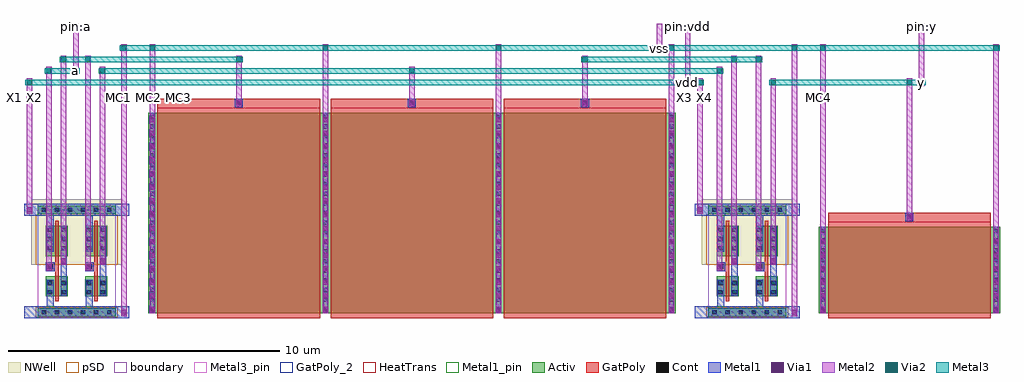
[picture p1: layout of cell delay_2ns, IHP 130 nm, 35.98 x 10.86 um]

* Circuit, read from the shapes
.subckt delay_2ns a vdd vss y
XM1 sg13cmos5l_inv_1_1/A a vss vss sg13_lv_nmos w=0.74u l=0.13u
XM2 sg13cmos5l_inv_1_3/A sg13cmos5l_inv_1_1/A vss vss sg13_lv_nmos w=0.74u l=0.13u
XM3 vss sg13cmos5l_inv_1_1/A vss vss sg13_lv_nmos w=7.4u l=6u
XM4 vss sg13cmos5l_inv_1_3/A vss vss sg13_lv_nmos w=7.4u l=6u
XM5 vss sg13cmos5l_inv_1_4/A vss vss sg13_lv_nmos w=7.4u l=6u
XM6 sg13cmos5l_inv_1_4/A sg13cmos5l_inv_1_3/A vss vss sg13_lv_nmos w=0.74u l=0.13u
XM7 y sg13cmos5l_inv_1_4/A vss vss sg13_lv_nmos w=0.74u l=0.13u
XM8 vss y vss vss sg13_lv_nmos w=3.2u l=6u
XM9 sg13cmos5l_inv_1_1/A a vdd vdd sg13_lv_pmos w=1.12u l=0.13u
XM10 sg13cmos5l_inv_1_3/A sg13cmos5l_inv_1_1/A vdd vdd sg13_lv_pmos w=1.12u l=0.13u
XM11 sg13cmos5l_inv_1_4/A sg13cmos5l_inv_1_3/A vdd vdd sg13_lv_pmos w=1.12u l=0.13u
XM12 y sg13cmos5l_inv_1_4/A vdd vdd sg13_lv_pmos w=1.12u l=0.13u
.ends

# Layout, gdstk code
import gdstk
lib = gdstk.Library(unit=1e-6, precision=1e-09)
def R(c, l, rs):  # rectangles x0, y0, x1, y1
    for r in rs: c.add(gdstk.rectangle(r[:2], r[2:], *l))
def A(c, l, x, y, w, h, nx, ny, dx, dy):  # array of equal rectangles
    R(c, l, [(x+i*dx, y+j*dy, x+i*dx+w, y+j*dy+h) for i in range(nx) for j in range(ny)])
def P(c, l, *ps):  # polygons
    for p in ps: c.add(gdstk.Polygon(p, *l))
Activ = (1, 0)
GatPoly = (5, 0)
GatPoly_2 = (5, 2)
Cont = (6, 0)
Metal1 = (8, 0)
Metal1_pin = (8, 2)
Metal2 = (10, 0)
pSD = (14, 0)
Via1 = (19, 0)
Via2 = (29, 0)
Metal3 = (30, 0)
Metal3_pin = (30, 2)
NWell = (31, 0)
HeatTrans = (51, 0)
boundary = (189, 4)

sg13cmos5l_inv_1 = lib.new_cell('sg13cmos5l_inv_1')
R(sg13cmos5l_inv_1, Activ, [(0,-0.15,1.44,0.15), (0.31,0.59,1.12,1.33), (0.31,2.075,1.12,3.195), (0,3.63,1.44,3.93)])
P(sg13cmos5l_inv_1, GatPoly, [(0.65,0.41),(0.65,1.52),(0.31,1.52),(0.31,1.85),(0.65,1.85),(0.65,3.375),(0.78,3.375),(0.78,0.41)])
A(sg13cmos5l_inv_1, Cont, 0.38, 2.285, 0.16, 0.16, 1, 3, 0, 0.34)
A(sg13cmos5l_inv_1, Cont, 0.89, 2.285, 0.16, 0.16, 1, 3, 0, 0.34)
R(sg13cmos5l_inv_1, Cont, [(0.16,-0.08,0.32,0.08), (0.16,-0.08,0.32,0.08), (0.64,-0.08,0.8,0.08), (0.64,-0.08,0.8,0.08), (1.12,-0.08,1.28,0.08), (1.12,-0.08,1.28,0.08), (0.38,0.66,0.54,0.82), (0.89,0.66,1.05,0.82), (0.38,1,0.54,1.16), (0.89,1,1.05,1.16), (0.395,1.605,0.555,1.765), (0.16,3.7,0.32,3.86), (0.16,3.7,0.32,3.86), (0.64,3.7,0.8,3.86), (0.64,3.7,0.8,3.86), (1.12,3.7,1.28,3.86), (1.12,3.7,1.28,3.86)])
R(sg13cmos5l_inv_1, Metal1, [(0.855,0.61,1.085,3.175), (0.31,1.52,0.625,1.85)])
P(sg13cmos5l_inv_1, Metal1, [(0,-0.22),(0,0.22),(0.33,0.22),(0.33,1.21),(0.59,1.21),(0.59,0.22),(1.44,0.22),(1.44,-0.22)],
  [(0.33,2.235),(0.33,3.56),(0,3.56),(0,4),(1.44,4),(1.44,3.56),(0.59,3.56),(0.59,2.235)])
R(sg13cmos5l_inv_1, Metal1_pin, [(0,-0.22,1.44,0.22), (0.855,0.61,1.085,3.175), (0.31,1.52,0.625,1.85), (0,3.56,1.44,4)])
R(sg13cmos5l_inv_1, pSD, [(-0.07,-0.18,1.51,0.18), (-0.07,1.76,1.51,3.6)])
R(sg13cmos5l_inv_1, NWell, [(-0.24,1.75,1.68,4.17)])
R(sg13cmos5l_inv_1, boundary, [(0,0,1.44,3.78)])
sg13cmos5l_inv_1.add(gdstk.Label('VDD', (0.705,3.78), layer=8, texttype=25))
sg13cmos5l_inv_1.add(gdstk.Label('VSS', (0.72,-0.02), layer=8, texttype=25))
sg13cmos5l_inv_1.add(gdstk.Label('A', (0.48,1.68), layer=8, texttype=25))
sg13cmos5l_inv_1.add(gdstk.Label('Y', (0.98,1.69), layer=8, texttype=25))

nmos_3 = lib.new_cell('nmos$3')
A(nmos_3, Activ, 0, 0, 0.3, 0.3, 4, 1, 6.38, 0)
R(nmos_3, Activ, [(0,0,19.44,7.4)])
A(nmos_3, GatPoly, 0.34, -0.18, 6, 7.76, 3, 1, 6.38, 0)
R(nmos_3, GatPoly_2, [(0.34,-0.18,6.34,7.58)])
A(nmos_3, Cont, 0.07, 0.07, 0.16, 0.16, 4, 21, 6.38, 0.355)
A(nmos_3, Metal1, 0.07, 0, 0.16, 7.4, 4, 1, 6.38, 0)
R(nmos_3, Metal1_pin, [(0.07,0,0.23,7.4), (6.45,0,6.61,7.4)])
A(nmos_3, HeatTrans, 0.34, -0.18, 6, 7.76, 3, 1, 6.38, 0)
nmos_3.add(gdstk.Label('nmos', (3.34,3.7), layer=63, texttype=0))
nmos_3.add(gdstk.Label('nmos', (3.34,3.7), layer=51, texttype=0))
nmos_3.add(gdstk.Label('nmos', (9.72,3.7), layer=51, texttype=0))
nmos_3.add(gdstk.Label('nmos', (16.1,3.7), layer=51, texttype=0))

nmos_1_1 = lib.new_cell('nmos$1$1')
R(nmos_1_1, Activ, [(0,0,0.3,0.3), (0,0,6.68,3.2), (6.38,0,6.68,0.3)])
R(nmos_1_1, GatPoly, [(0.34,-0.18,6.34,3.38)])
R(nmos_1_1, GatPoly_2, [(0.34,-0.18,6.34,3.38)])
R(nmos_1_1, Cont, [(0.07,0.07,0.23,0.23), (6.45,0.07,6.61,0.23), (0.07,0.43,0.23,0.59), (6.45,0.43,6.61,0.59), (0.07,0.795,0.23,0.955), (6.45,0.795,6.61,0.955), (0.07,1.155,0.23,1.315), (6.45,1.155,6.61,1.315), (0.07,1.52,0.23,1.68), (6.45,1.52,6.61,1.68), (0.07,1.88,0.23,2.04), (6.45,1.88,6.61,2.04), (0.07,2.245,0.23,2.405), (6.45,2.245,6.61,2.405), (0.07,2.605,0.23,2.765), (6.45,2.605,6.61,2.765), (0.07,2.97,0.23,3.13), (6.45,2.97,6.61,3.13)])
R(nmos_1_1, Metal1, [(0.07,0,0.23,3.2), (6.45,0,6.61,3.2)])
R(nmos_1_1, Metal1_pin, [(0.07,0,0.23,3.2), (6.45,0,6.61,3.2)])
R(nmos_1_1, HeatTrans, [(0.34,-0.18,6.34,3.38)])
nmos_1_1.add(gdstk.Label('nmos', (3.34,1.6), layer=63, texttype=0))
nmos_1_1.add(gdstk.Label('nmos', (3.34,1.6), layer=51, texttype=0))

delay_2ns = lib.new_cell('delay_2ns')
A(delay_2ns, GatPoly, 4.92, 7.76, 6, 0.33, 3, 1, 6.38, 0)
R(delay_2ns, GatPoly, [(29.64,3.56,35.64,3.89)])
A(delay_2ns, Cont, 7.84, 7.86, 0.16, 0.16, 3, 1, 6.38, 0)
R(delay_2ns, Cont, [(32.56,3.66,32.72,3.82)])
A(delay_2ns, Metal1, 4.625, 0.18, 0.21, 0.29, 4, 15, 6.38, 0.5)
A(delay_2ns, Metal1, 29.345, 0.18, 0.21, 0.29, 1, 6, 0, 0.5)
A(delay_2ns, Metal1, 35.725, 0.18, 0.21, 0.29, 1, 6, 0, 0.5)
A(delay_2ns, Metal1, 7.77, 7.78, 0.3, 0.32, 3, 1, 6.38, 0)
A(delay_2ns, Metal1, 7.815, 7.795, 0.21, 0.29, 3, 1, 6.38, 0)
R(delay_2ns, Metal1, [(0,0,0.5,0.44), (3.38,0,3.88,0.44), (24.72,0,25.22,0.44), (28.1,0,28.6,0.44), (3.575,0.075,3.785,0.365), (28.295,0.075,28.505,0.365), (0.81,1.76,1.02,2.05), (2.25,1.76,2.46,2.05), (25.53,1.76,25.74,2.05), (26.97,1.76,27.18,2.05), (1.355,1.965,1.565,2.255), (2.795,1.965,3.005,2.255), (26.075,1.965,26.285,2.255), (27.515,1.965,27.725,2.255), (32.49,3.58,32.79,3.9), (32.535,3.595,32.745,3.885), (0,3.78,0.5,4.22), (3.38,3.78,3.88,4.22), (24.72,3.78,25.22,4.22), (28.1,3.78,28.6,4.22), (0.095,3.855,0.305,4.145), (24.815,3.855,25.025,4.145)])
A(delay_2ns, Metal2, 4.63, 0.18, 0.2, 9.925, 4, 1, 6.38, 0)
R(delay_2ns, Metal2, [(3.58,0.075,3.78,10.105), (28.3,0.075,28.5,10.105), (29.35,0.18,29.55,10.105), (35.73,0.18,35.93,10.105), (0.815,1.76,1.015,9.265), (2.255,1.76,2.455,9.685), (25.535,1.76,25.735,9.265), (26.975,1.76,27.175,9.685), (1.36,1.965,1.56,9.685), (2.8,1.965,3,9.265), (26.08,1.965,26.28,9.685), (27.52,1.965,27.72,8.845), (32.54,3.595,32.74,8.845), (0.1,3.855,0.3,8.845), (24.82,3.855,25.02,8.845), (7.82,7.795,8.02,9.685), (14.2,7.795,14.4,9.265), (20.58,7.795,20.78,9.685), (24.37,8.555,24.57,10.86), (32.99,8.555,33.19,10.86), (1.815,8.975,2.015,10.86), (23.32,9.815,23.52,10.86)])
A(delay_2ns, Via1, 4.635, 0.23, 0.19, 0.19, 4, 15, 6.38, 0.5)
A(delay_2ns, Via1, 29.355, 0.23, 0.19, 0.19, 1, 6, 0, 0.5)
A(delay_2ns, Via1, 35.735, 0.23, 0.19, 0.19, 1, 6, 0, 0.5)
A(delay_2ns, Via1, 7.825, 7.845, 0.19, 0.19, 3, 1, 6.38, 0)
R(delay_2ns, Via1, [(3.585,0.125,3.775,0.315), (28.305,0.125,28.495,0.315), (0.82,1.81,1.01,2), (2.26,1.81,2.45,2), (25.54,1.81,25.73,2), (26.98,1.81,27.17,2), (1.365,2.015,1.555,2.205), (2.805,2.015,2.995,2.205), (26.085,2.015,26.275,2.205), (27.525,2.015,27.715,2.205), (32.545,3.645,32.735,3.835), (0.105,3.905,0.295,4.095), (24.825,3.905,25.015,4.095)])
A(delay_2ns, Via2, 4.635, 9.865, 0.19, 0.19, 3, 1, 6.38, 0)
R(delay_2ns, Via2, [(0.105,8.605,0.295,8.795), (24.375,8.605,24.565,8.795), (24.825,8.605,25.015,8.795), (27.525,8.605,27.715,8.795), (32.545,8.605,32.735,8.795), (32.995,8.605,33.185,8.795), (0.82,9.025,1.01,9.215), (1.82,9.025,2.01,9.215), (2.805,9.025,2.995,9.215), (14.205,9.025,14.395,9.215), (25.54,9.025,25.73,9.215), (1.365,9.445,1.555,9.635), (2.26,9.445,2.45,9.635), (7.825,9.445,8.015,9.635), (20.585,9.445,20.775,9.635), (26.085,9.445,26.275,9.635), (26.98,9.445,27.17,9.635), (3.585,9.865,3.775,10.055), (23.325,9.865,23.515,10.055), (23.775,9.865,23.965,10.055), (28.305,9.865,28.495,10.055), (29.355,9.865,29.545,10.055), (35.735,9.865,35.925,10.055)])
R(delay_2ns, Metal3, [(0.055,8.6,25.065,8.8), (27.475,8.6,33.235,8.8), (0.77,9.02,2.06,9.22), (2.755,9.02,25.78,9.22), (1.315,9.44,8.065,9.64), (20.535,9.44,27.22,9.64), (3.535,9.86,35.975,10.06)])
R(delay_2ns, Metal3_pin, [(24.405,8.635,24.535,8.765), (33.025,8.635,33.155,8.765), (1.85,9.055,1.98,9.185), (23.355,9.895,23.485,10.025)])
delay_2ns.add(gdstk.Reference(sg13cmos5l_inv_1, (0.5,0.22)))
delay_2ns.add(gdstk.Reference(sg13cmos5l_inv_1, (1.94,0.22)))
delay_2ns.add(gdstk.Reference(nmos_3, (4.58,0.18)))
delay_2ns.add(gdstk.Reference(sg13cmos5l_inv_1, (25.22,0.22)))
delay_2ns.add(gdstk.Reference(sg13cmos5l_inv_1, (26.66,0.22)))
delay_2ns.add(gdstk.Reference(nmos_1_1, (29.3,0.18)))
delay_2ns.add(gdstk.Label('a', (1.915,9.12), layer=30, texttype=25))
delay_2ns.add(gdstk.Label('y', (33.09,8.7), layer=30, texttype=25))
delay_2ns.add(gdstk.Label('vdd', (24.47,8.7), layer=30, texttype=25))
delay_2ns.add(gdstk.Label('vss', (23.42,9.96), layer=30, texttype=25))
delay_2ns.add(gdstk.Label('X1 X2', (0,8.15), layer=63, texttype=0))
delay_2ns.add(gdstk.Label('MC1 MC2 MC3', (4.58,8.15), layer=63, texttype=0))
delay_2ns.add(gdstk.Label('X3 X4', (24.72,8.15), layer=63, texttype=0))
delay_2ns.add(gdstk.Label('MC4', (29.3,8.15), layer=63, texttype=0))
delay_2ns.add(gdstk.Label('pin:a', (1.915,10.76), layer=63, texttype=0))
delay_2ns.add(gdstk.Label('pin:y', (33.09,10.76), layer=63, texttype=0))
delay_2ns.add(gdstk.Label('pin:vdd', (24.47,10.76), layer=63, texttype=0))
delay_2ns.add(gdstk.Label('pin:vss', (23.42,10.76), layer=63, texttype=0))

lib.write_gds('delay_2ns.gds')
